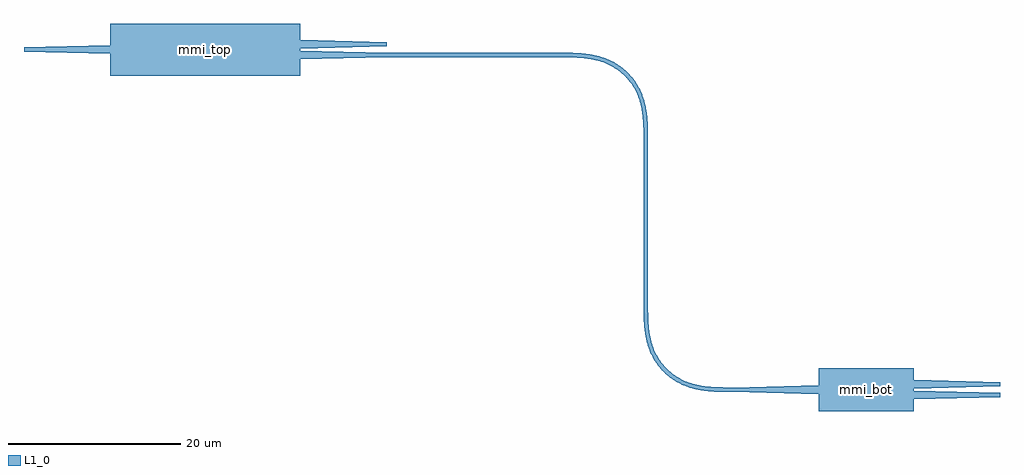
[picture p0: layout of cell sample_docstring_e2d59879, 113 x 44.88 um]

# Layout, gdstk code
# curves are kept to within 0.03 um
from math import pi, radians
import gdstk
lib = gdstk.Library(unit=1e-6, precision=1e-09)
def R(c, l, rs):  # rectangles x0, y0, x1, y1
    for r in rs: c.add(gdstk.rectangle(r[:2], r[2:], *l))
def P(c, l, *ps):  # polygons
    for p in ps: c.add(gdstk.Polygon(p, *l))
L1_0 = (1, 0)

mmi1x2_length_mmi11_widt = lib.new_cell('mmi1x2_length_mmi11_width_mmi5')
R(mmi1x2_length_mmi11_widt, L1_0, [(0,-2.5,11,2.5)])
P(mmi1x2_length_mmi11_widt, L1_0, [(-10,0.25),(0,0.5),(0,-0.5),(-10,-0.25)],
  [(21,0.375),(11,0.125),(11,1.125),(21,0.875)],
  [(21,-0.875),(11,-1.125),(11,-0.125),(21,-0.375)])

mmi1x2_length_mmi22_widt = lib.new_cell('mmi1x2_length_mmi22_width_mmi6')
R(mmi1x2_length_mmi22_widt, L1_0, [(0,-3,22,3)])
P(mmi1x2_length_mmi22_widt, L1_0, [(-10,0.25),(0,0.5),(0,-0.5),(-10,-0.25)],
  [(32,0.375),(22,0.125),(22,1.125),(32,0.875)],
  [(32,-0.875),(22,-1.125),(22,-0.125),(32,-0.375)])

bend_euler_a459ac5d = lib.new_cell('bend_euler_a459ac5d')
P(bend_euler_a459ac5d, L1_0, [(0,-0.25),(1.532,-0.235),(2.795,-0.158),(3.776,-0.023),(4.746,0.203),(5.688,0.543),(6.455,0.934),(7.285,1.5),(7.928,2.072),(8.5,2.715),(9.066,3.545),(9.457,4.312),(9.797,5.254),(10.023,6.224),(10.158,7.205),(10.235,8.468),(10.25,10),(9.75,10),(9.731,8.345),(9.647,7.119),(9.48,6.048),(9.194,5.01),(8.887,4.269),(8.495,3.569),(8.024,2.921),(7.575,2.425),(7.079,1.976),(6.431,1.505),(5.731,1.113),(4.99,0.806),(3.952,0.52),(2.881,0.353),(1.655,0.269),(0,0.25)])

straight_ffd7e551 = lib.new_cell('straight_ffd7e551')
R(straight_ffd7e551, L1_0, [(0,-0.25,19.99,0.25)])

straight_c872232a = lib.new_cell('straight_c872232a')
R(straight_c872232a, L1_0, [(0,-0.25,18.75,0.25)])

straight_b69bcf2d = lib.new_cell('straight_b69bcf2d')
R(straight_b69bcf2d, L1_0, [(0,-0.25,0.01,0.25)])

sample_docstring_e2d5987 = lib.new_cell('sample_docstring_e2d59879')
sample_docstring_e2d5987.add(gdstk.Reference(mmi1x2_length_mmi11_widt, (92,-39.375)))
sample_docstring_e2d5987.add(gdstk.Reference(mmi1x2_length_mmi22_widt, (10,0)))
sample_docstring_e2d5987.add(gdstk.Reference(bend_euler_a459ac5d, (61.99,-0.625), x_reflection=True))
sample_docstring_e2d5987.add(gdstk.Reference(bend_euler_a459ac5d, (71.99,-29.375), rotation=3*pi/2))
sample_docstring_e2d5987.add(gdstk.Reference(straight_ffd7e551, (42,-0.625)))
sample_docstring_e2d5987.add(gdstk.Reference(straight_c872232a, (71.99,-10.625), rotation=3*pi/2))
sample_docstring_e2d5987.add(gdstk.Reference(straight_b69bcf2d, (81.99,-39.375)))
sample_docstring_e2d5987.add(gdstk.Label('mmi_bot', (97.5,-39.375), layer=206, texttype=0))
sample_docstring_e2d5987.add(gdstk.Label('mmi_top', (21,0), layer=206, texttype=0))

lib.write_gds('sample_docstring_e2d59879.gds')
